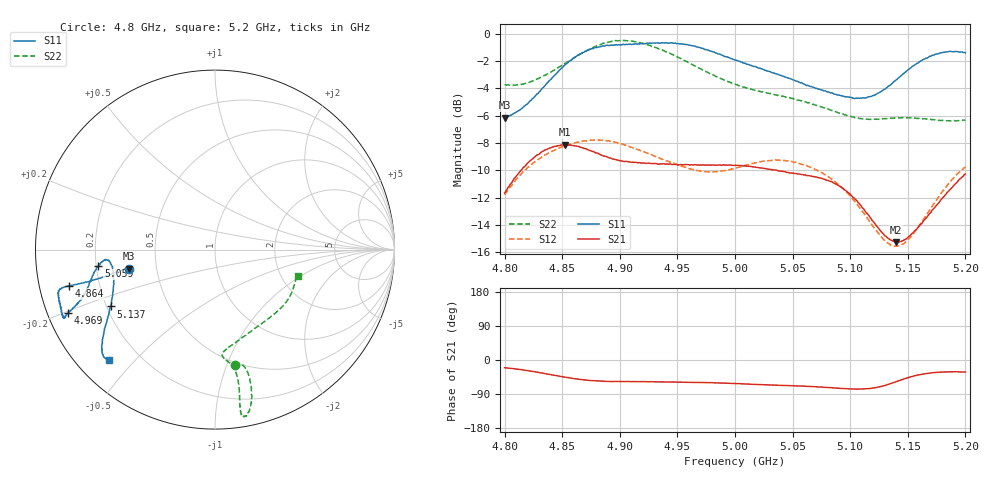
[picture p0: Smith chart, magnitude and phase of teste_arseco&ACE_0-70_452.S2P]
! Network Analyzer HP8722D
! Hewlett-Packard
! Data name: Linha & Wilkinson
! Saver's name: Rodrigo Anjos
! Comments: Teste da utilização de aquisição
! continua pelo VNA HP8722D
! Time and date: 8/5/2025 16:31
!  Frequency  S11  S21  S12  S22
# HZ  S  MA R 50
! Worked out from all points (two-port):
!   401 points, 4.8 GHz to 5.2 GHz, reference 50 ohm
!   highest |S21| = -8.13 dB at 4.852 GHz (marker M1); lowest = -15.3 dB at 5.14 GHz (marker M2)
!   |S21| within 3 dB of the highest: 4.804 GHz to 5.09 GHz (286.1 MHz wide, 5.78 % of centre); 5.189726 GHz to end of sweep
!   lowest |S11| = -6.1 dB at 4.8 GHz (marker M3), VSWR 2.95, Z = 17.2 - j4.85 ohm
!   |S11| at or under -10 dB: nowhere
!   |S22| runs from -6.4 to -0.5 dB; largest |S21 - S12| = 0.62
!   S11 on the Smith chart (normalised r, x): 4.8 GHz: 0.34, -0.10; 4.864 GHz: 0.09, -0.12; 4.969 GHz: 0.06, -0.21; 5.059 GHz: 0.21, -0.07; 5.137 GHz: 0.22, -0.24; 5.2 GHz: 0.09, -0.42
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4.8e9  0.4931 -167.5  0.2612 -20.5  0.2572 -141.8  0.6513 -80.1
4.826e9  0.5885 -166.8  0.3532 -31.0  0.3388 -145.8  0.6757 -75.8
4.852e9  0.7665 -165.9  0.3922 -45.2  0.3881 -150.4  0.777 -75.1
4.864e9  0.8375 -166.0  0.3871 -50.5  0.4005 -152.3  0.8331 -75.9
4.867e9  0.8492 -166.1  0.383 -51.9  0.4032 -152.9  0.8478 -75.9
4.898e9  0.9096 -163.0  0.3448 -56.8  0.398 -157.0  0.9427 -79.5
4.916e9  0.9193 -159.5  0.3365 -57.1  0.376 -157.3  0.9298 -80.9
4.934e9  0.925 -156.7  0.333 -57.8  0.352 -155.9  0.8798 -81.0
4.969e9  0.8899 -156.6  0.3299 -59.2  0.3145 -147.5  0.7484 -80.1
5e9  0.8021 -159.3  0.3298 -62.1  0.3223 -137.6  0.6527 -81.6
5.034e9  0.7176 -165.8  0.3172 -66.4  0.3442 -135.0  0.599 -85.9
5.059e9  0.6564 -171.9  0.3046 -69.0  0.3321 -136.9  0.5654 -84.5
5.067e9  0.6394 -173.4  0.3008 -70.0  0.3228 -137.7  0.5517 -82.6
5.083e9  0.607 -174.6  0.2878 -73.1  0.2952 -139.1  0.525 -76.5
5.101e9  0.584 -171.5  0.2558 -76.3  0.2512 -139.4  0.4973 -66.0
5.115e9  0.5857 -164.9  0.2192 -75.7  0.2108 -135.7  0.4865 -55.8
5.134e9  0.6456 -153.3  0.1767 -63.5  0.1697 -119.1  0.4895 -42.8
5.137e9  0.6618 -151.4  0.1738 -60.4  0.1673 -114.9  0.4912 -41.1
5.14e9  0.6776 -150.2  0.1725 -57.1  0.1669 -111.1  0.4915 -39.4
5.152e9  0.7477 -144.9  0.1826 -44.9  0.1788 -95.9  0.4922 -33.2
5.17e9  0.8285 -139.6  0.2217 -34.1  0.23 -82.1  0.486 -25.3
5.2e9  0.8515 -133.7  0.3066 -31.9  0.3254 -77.5  0.4823 -17.6
